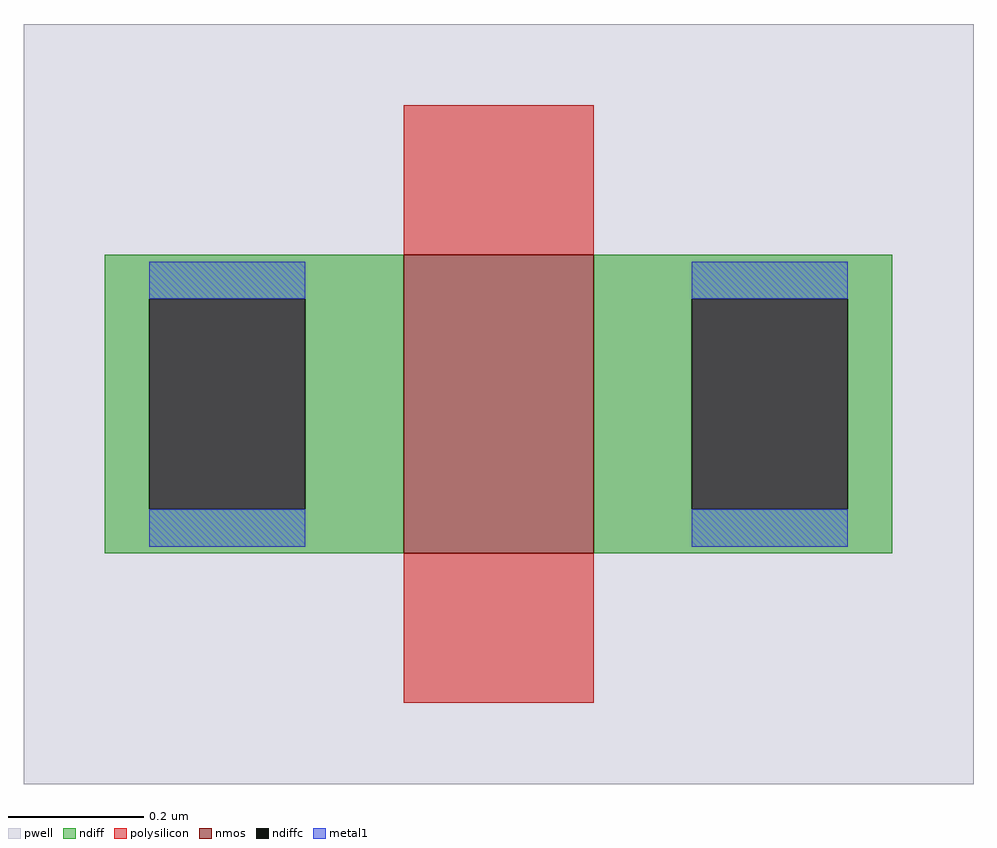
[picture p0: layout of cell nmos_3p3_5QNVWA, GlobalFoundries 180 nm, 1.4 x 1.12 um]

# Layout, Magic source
magic
tech gf180mcuC
magscale 1 10
<< pwell >>
rect -140 -112 140 112
<< nmos >>
rect -28 -44 28 44
<< ndiff >>
rect -116 31 -28 44
rect -116 -31 -103 31
rect -57 -31 -28 31
rect -116 -44 -28 -31
rect 28 31 116 44
rect 28 -31 57 31
rect 103 -31 116 31
rect 28 -44 116 -31
<< ndiffc >>
rect -103 -31 -57 31
rect 57 -31 103 31
<< polysilicon >>
rect -28 44 28 88
rect -28 -88 28 -44
<< metal1 >>
rect -103 31 -57 42
rect -103 -42 -57 -31
rect 57 31 103 42
rect 57 -42 103 -31
<< properties >>
string gencell nmos_3p3
string library gf180mcu
string parameters w 0.440 l 0.280 m 1 nf 1 diffcov 100 polycov 100 guard 0 glc 0 grc 0 gtc 0 gbc 0 tbcov 100 rlcov 100 topc 0 botc 0 poverlap 0 doverlap 1 lmin 0.28 wmin 0.22 full_metal 0 compatible {nmos_3p3 nmos_6p0 nmos_6p0_nat}
<< end >>
